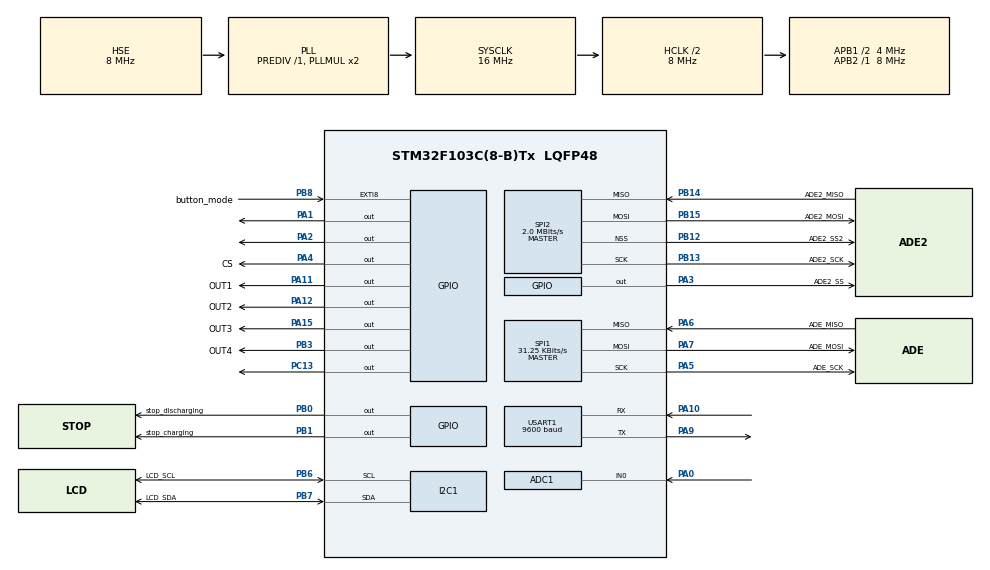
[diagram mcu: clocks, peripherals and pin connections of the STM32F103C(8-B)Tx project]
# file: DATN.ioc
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ADC1.Channel-2\#ChannelRegularConversion=ADC_CHANNEL_0
ADC1.ContinuousConvMode=ENABLE
ADC1.NbrOfConversionFlag=1
ADC1.Rank-2\#ChannelRegularConversion=1
ADC1.SamplingTime-2\#ChannelRegularConversion=ADC_SAMPLETIME_239CYCLES_5
ADC1.master=1
Dma.ADC1.0.Direction=DMA_PERIPH_TO_MEMORY
Dma.ADC1.0.Instance=DMA1_Channel1
Dma.ADC1.0.MemDataAlignment=DMA_MDATAALIGN_HALFWORD
Dma.ADC1.0.MemInc=DMA_MINC_ENABLE
Dma.ADC1.0.Mode=DMA_CIRCULAR
Dma.ADC1.0.PeriphDataAlignment=DMA_PDATAALIGN_HALFWORD
Dma.ADC1.0.PeriphInc=DMA_PINC_DISABLE
Dma.ADC1.0.Priority=DMA_PRIORITY_LOW
Dma.Request0=ADC1
Mcu.Family=STM32F1
Mcu.Name=STM32F103C(8-B)Tx
Mcu.Package=LQFP48
NVIC.DMA1_Channel1_IRQn=true\:0\:0\:false\:false\:true\:false\:true\:true
NVIC.EXTI9_5_IRQn=true\:3\:0\:true\:false\:true\:true\:true\:true
NVIC.PriorityGroup=NVIC_PRIORITYGROUP_4
NVIC.TIM2_IRQn=true\:2\:0\:true\:false\:true\:true\:true\:true
NVIC.USART1_IRQn=true\:1\:0\:true\:false\:true\:true\:true\:true
PA0-WKUP.Signal=ADCx_IN0
PA1.Signal=GPIO_Output
PA10.Mode=Asynchronous
PA10.Signal=USART1_RX
PA11.GPIO_Label=OUT1
PA11.PinState=GPIO_PIN_SET
PA11.Signal=GPIO_Output
PA12.GPIO_Label=OUT2
PA12.PinState=GPIO_PIN_SET
PA12.Signal=GPIO_Output
PA13.Mode=Serial_Wire
PA13.Signal=SYS_JTMS-SWDIO
PA14.Mode=Serial_Wire
PA14.Signal=SYS_JTCK-SWCLK
PA15.GPIO_Label=OUT3
PA15.PinState=GPIO_PIN_SET
PA15.Signal=GPIO_Output
PA2.Signal=GPIO_Output
PA3.GPIO_Label=ADE2_SS
PA3.Signal=GPIO_Output
PA4.GPIO_Label=CS
PA4.Signal=GPIO_Output
PA5.GPIO_Label=ADE_SCK
PA5.Mode=Full_Duplex_Master
PA5.Signal=SPI1_SCK
PA6.GPIO_Label=ADE_MISO
PA6.Mode=Full_Duplex_Master
PA6.Signal=SPI1_MISO
PA7.GPIO_Label=ADE_MOSI
PA7.Mode=Full_Duplex_Master
PA7.Signal=SPI1_MOSI
PA9.Mode=Asynchronous
PA9.Signal=USART1_TX
PB0.GPIO_Label=stop_discharging
PB0.Signal=GPIO_Output
PB1.GPIO_Label=stop_charging
PB1.Signal=GPIO_Output
PB12.GPIO_Label=ADE2_SS2
PB12.Mode=NSS_Signal_Hard_Output
PB12.Signal=SPI2_NSS
PB13.GPIO_Label=ADE2_SCK
PB13.Mode=Full_Duplex_Master
PB13.Signal=SPI2_SCK
PB14.GPIO_Label=ADE2_MISO
PB14.Mode=Full_Duplex_Master
PB14.Signal=SPI2_MISO
PB15.GPIO_Label=ADE2_MOSI
PB15.Mode=Full_Duplex_Master
PB15.Signal=SPI2_MOSI
PB3.GPIO_Label=OUT4
PB3.PinState=GPIO_PIN_SET
PB3.Signal=GPIO_Output
PB6.GPIO_Label=LCD_SCL
PB6.Mode=I2C
PB6.Signal=I2C1_SCL
PB7.GPIO_Label=LCD_SDA
PB7.Mode=I2C
PB7.Signal=I2C1_SDA
PB8.GPIO_Label=button_mode
PB8.GPIO_ModeDefaultEXTI=GPIO_MODE_IT_FALLING
PB8.GPIO_PuPd=GPIO_PULLUP
PB8.Signal=GPXTI8
PC13-TAMPER-RTC.PinState=GPIO_PIN_RESET
PC13-TAMPER-RTC.Signal=GPIO_Output
PD0-OSC_IN.Mode=HSE-External-Oscillator
PD0-OSC_IN.Signal=RCC_OSC_IN
PD1-OSC_OUT.Mode=HSE-External-Oscillator
PD1-OSC_OUT.Signal=RCC_OSC_OUT
ProjectManager.HeapSize=0x200
ProjectManager.StackSize=0x400
ProjectManager.TargetToolchain=MDK-ARM V5
RCC.ADCPresc=RCC_ADCPCLK2_DIV6
RCC.AHBCLKDivider=RCC_SYSCLK_DIV2
RCC.AHBFreq_Value=8000000
RCC.APB1CLKDivider=RCC_HCLK_DIV2
RCC.APB1Freq_Value=4000000
RCC.APB1TimFreq_Value=8000000
RCC.APB2Freq_Value=8000000
RCC.APB2TimFreq_Value=8000000
RCC.HCLKFreq_Value=8000000
RCC.PLLSourceVirtual=RCC_PLLSOURCE_HSE
RCC.SYSCLKFreq_VALUE=16000000
RCC.SYSCLKSource=RCC_SYSCLKSOURCE_PLLCLK
RCC.USBFreq_Value=16000000
SH.ADCx_IN0.0=ADC1_IN0,IN0
SPI1.BaudRatePrescaler=SPI_BAUDRATEPRESCALER_256
SPI1.CLKPolarity=SPI_POLARITY_LOW
SPI1.CalculateBaudRate=31.25 KBits/s
SPI1.Direction=SPI_DIRECTION_2LINES
SPI1.Mode=SPI_MODE_MASTER
SPI1.VirtualType=VM_MASTER
SPI2.CalculateBaudRate=2.0 MBits/s
SPI2.Direction=SPI_DIRECTION_2LINES
SPI2.Mode=SPI_MODE_MASTER
SPI2.VirtualNSS=VM_NSSHARD
SPI2.VirtualType=VM_MASTER
TIM2.Period=1199
TIM2.Prescaler=20000
USART1.BaudRate=9600
USART1.VirtualMode=VM_ASYNC
USART1.WordLength=WORDLENGTH_8B
VP_TIM2_VS_ClockSourceINT.Mode=Internal
board=custom

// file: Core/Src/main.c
/* USER CODE BEGIN Header */
/**
  ******************************************************************************
  * @file           : main.c
  * @brief          : Main program body
  ******************************************************************************
  * @attention
  *
  * Copyright (c) 2023 STMicroelectronics.
  * All rights reserved.
  *
  * This software is licensed under terms that can be found in the LICENSE file
  * in the root directory of this software component.
  * If no LICENSE file comes with this software, it is provided AS-IS.
  *
  ******************************************************************************
  */
/* USER CODE END Header */
#include "main.h"

/* USER CODE BEGIN PD */
	#include "i2c-lcd.h"
	#include "stdio.h"
	#define ADE7753_VOLTAGE_RMS 0x17
	#define ADE7753_CURRENT_RMS 0x16
	#define ADE7753_ACTIVE_POWER 0x04
	#define ADE7753_APPARENT_POWER 0x07
	#define ADE7753_VOLTAGE_RMS0S 0X18
	#define MODE 0x09
	uint32_t Vbat_temp=0,i,button_temp,Vtai_temp,Itai_temp,Ptai_temp,Vin_temp,Iin_temp,Vbat_tb, Vtai_tb, Itai_tb;
	float Vbat_f=0,Vtai_f=0, Itai_f=0,Ptai_f=0,Vin_f=0,Iin_f=0;
	uint16_t LCD_Menu=0;
	char Vbat[12]={0}, Vtai[12]={0},Itai[12]={0},Ptai[12]={0},Vin[12]={0}, Iin[12]={0};
	int tx_uart_temp;
	char tx_uart_buffer[9];

	uint8_t rx_buffer[4];
	int k=0;

/* USER CODE END PD */

ADC_HandleTypeDef hadc1;
DMA_HandleTypeDef hdma_adc1;

I2C_HandleTypeDef hi2c1;

SPI_HandleTypeDef hspi1;
SPI_HandleTypeDef hspi2;

TIM_HandleTypeDef htim2;

UART_HandleTypeDef huart1;

void SystemClock_Config(void);
static void MX_GPIO_Init(void);
static void MX_DMA_Init(void);
static void MX_ADC1_Init(void);
static void MX_I2C1_Init(void);
static void MX_SPI1_Init(void);
static void MX_USART1_UART_Init(void);
static void MX_SPI2_Init(void);
static void MX_TIM2_Init(void);

/* USER CODE BEGIN 0 */

void doc_vacquy()
{
	uint32_t vacquy_sum100=0;
	for (i=0;i<100;i++)
		{
			vacquy_sum100 = vacquy_sum100+Vbat_temp;
			HAL_Delay(1);
		}
	Vbat_tb=vacquy_sum100/100;
}
void HAL_GPIO_EXTI_Callback(uint16_t GPIO_Pin)
{
	if (GPIO_Pin == button_mode_Pin)
		{
			button_temp=1;
			LCD_Menu++;
			if (LCD_Menu>2)
				LCD_Menu=0;
			for (int x=500000; x>0; x--);
			__HAL_GPIO_EXTI_CLEAR_IT(button_mode_Pin);
			HAL_NVIC_ClearPendingIRQ(EXTI9_5_IRQn);
		}
}
void LCD_display()
{
	switch(LCD_Menu)
		{
			case 0:
				sprintf(Vbat,"%2.2f",Vbat_f);
				lcd_put_cur(0,1);
				lcd_send_string("DIEN AP ACQUY");
				lcd_put_cur(1,1);
				lcd_send_string("U=");
				lcd_send_string(Vbat);
				lcd_send_string("V");
				if (button_temp==1)
				{
						lcd_send_cmd(0x01);
						HAL_Delay(1);
						button_temp=0;
				}

				break;
			case 1:
				sprintf(Vtai,"%3.1f",Vtai_f);
				sprintf(Itai,"%2.2f",Itai_f);
				sprintf(Ptai,"%3.1f",Ptai_f);
				lcd_put_cur(0,0);
				lcd_send_string("OUTPUT");
				lcd_put_cur(0,8);
				lcd_send_string("U=");
				lcd_send_string(Vtai);
				lcd_send_string("V");

				lcd_put_cur(1,0);
				lcd_send_string("I=");
				lcd_send_string(Itai);
				lcd_send_string("A");

				lcd_put_cur(1,8);
				lcd_send_string("P=");
				lcd_send_string(Ptai);
				lcd_send_string("W");

				if (button_temp==1)
				{
						lcd_send_cmd(0x01);
						HAL_Delay(1);
					button_temp=0;
				}
				break;
			case 2:
				lcd_put_cur(0,1);
				lcd_send_string("DAU RA GIO");
				if (button_temp==1)
				{
						lcd_send_cmd(0x01);
						HAL_Delay(1);
					button_temp=0;
				}
				break;
		}
}

void HAL_UART_TxCpltCallback(UART_HandleTypeDef *huart)
{
//xu ly ngat gui uart, khong xu ly
}

void HAL_UART_RxCpltCallback(UART_HandleTypeDef *huart)
{
	if(huart->Instance == USART1)
	{
	for (int i=0;i<4;i++)
		{
			if (rx_buffer[i]=='a')
				{
					for (int j=0;j<4;j++)
					{
						if (rx_buffer[j]=='1')
						HAL_GPIO_WritePin(OUT1_GPIO_Port,OUT1_Pin,0);
						else if (rx_buffer[j]=='0')
						HAL_GPIO_WritePin(OUT1_GPIO_Port,OUT1_Pin,1);
					}
				}
			if (rx_buffer[i]=='b')
				{
					for (int j=0;j<4;j++)
					{
						if (rx_buffer[j]=='1')
						HAL_GPIO_WritePin(OUT2_GPIO_Port,OUT2_Pin,0);
						else if (rx_buffer[j]=='0')
						HAL_GPIO_WritePin(OUT2_GPIO_Port,OUT2_Pin,1);
					}
				}
			if (rx_buffer[i]=='c')
				{
					for (int j=0;j<4;j++)
					{
						if (rx_buffer[j]=='1')
						HAL_GPIO_WritePin(OUT3_GPIO_Port,OUT3_Pin,0);
						else if (rx_buffer[j]=='0')
						HAL_GPIO_WritePin(OUT3_GPIO_Port,OUT3_Pin,1);
					}
				}
			if (rx_buffer[i]=='d')
				{
					for (int j=0;j<4;j++)
					{
						if (rx_buffer[j]=='1')
						HAL_GPIO_WritePin(OUT4_GPIO_Port,OUT4_Pin,0);
						else if (rx_buffer[j]=='0')
						HAL_GPIO_WritePin(OUT4_GPIO_Port,OUT4_Pin,1);
					}
				}
		}

		HAL_UART_Receive_IT(&huart1, (uint8_t*)rx_buffer, 4);
	}

}
void HAL_TIM_PeriodElapsedCallback(TIM_HandleTypeDef *htim)
{
	if(htim->Instance == htim2.Instance)
		{
			switch (k)
				{
					case 0:
						sprintf(tx_uart_buffer,"VBAT%05d",(int)(Vbat_f*100));
						HAL_UART_Transmit_IT(&huart1,(uint8_t*)tx_uart_buffer,9);
						k++;
						break;
					case 1:
						sprintf(tx_uart_buffer,"VTAI%05d",(int)(Vtai_f*100));
						HAL_UART_Transmit_IT(&huart1,(uint8_t*)tx_uart_buffer,9);
						k++;
						break;
					case 2:
						sprintf(tx_uart_buffer,"ITAI%05d",(int)(Itai_f*100));
						HAL_UART_Transmit_IT(&huart1,(uint8_t*)tx_uart_buffer,9);
						k++;
						break;
					case 3:
						sprintf(tx_uart_buffer,"PTAI%05d",(int)(Ptai_f*100));
						HAL_UART_Transmit_IT(&huart1,(uint8_t*)tx_uart_buffer,9);
						k++;
						break;

					case 4:
						sprintf(tx_uart_buffer,"VIN0%05d",(int)(Vin_f*100));
						HAL_UART_Transmit_IT(&huart1,(uint8_t*)tx_uart_buffer,9);
						k++;
						break;
					case 5:
						sprintf(tx_uart_buffer,"IIN0%05d",(int)(Iin_f*100));
						HAL_UART_Transmit_IT(&huart1,(uint8_t*)tx_uart_buffer,9);
						k=0;
						break;
				}
		}
}
		//READ_ADE
uint32_t Read_ADE24(uint8_t add)
	{
		uint8_t m[3]={0x00, 0x00, 0x00};
		uint8_t n[3]={0x00, 0x00, 0x00};
		HAL_GPIO_WritePin(GPIOA ,GPIO_PIN_4,GPIO_PIN_RESET);
		HAL_SPI_Transmit(&hspi1,&add,1,10);
		HAL_SPI_TransmitReceive(&hspi1,m,n,3,10);
		HAL_GPIO_WritePin(GPIOA ,GPIO_PIN_4,GPIO_PIN_SET);
		return (n[0]<<16 | n[1]<<8 | n[2]);
	}
/* USER CODE END 0 */

int main(void)
{

  /* MCU Configuration--------------------------------------------------------*/

  /* Reset of all peripherals, Initializes the Flash interface and the Systick. */
  HAL_Init();

  /* Configure the system clock */
  SystemClock_Config();

  /* Initialize all configured peripherals */
  MX_GPIO_Init();
  MX_DMA_Init();
  MX_ADC1_Init();
  MX_I2C1_Init();
  MX_SPI1_Init();
  MX_USART1_UART_Init();
  MX_SPI2_Init();
  MX_TIM2_Init();
  /* USER CODE BEGIN 2 */
	lcd_init();
	HAL_ADC_Start_DMA(&hadc1,&Vbat_temp,1);
	HAL_UART_Receive_IT(&huart1, (uint8_t*) rx_buffer,4);
	HAL_TIM_Base_Start_IT(&htim2);

  /* USER CODE END 2 */

  /* Infinite loop */
  /* USER CODE BEGIN WHILE */
  while (1)
		{
			HAL_GPIO_TogglePin(GPIOC,GPIO_PIN_13);

    /* USER CODE END WHILE */

    /* USER CODE BEGIN 3 */
			uint32_t Vtai_sum=0, Itai_sum=0;
				for (int k=0;k<20;k++)
		{

			Vtai_temp= Read_ADE24(ADE7753_VOLTAGE_RMS);
			Vtai_sum=Vtai_sum+Vtai_temp;
			}
			Vtai_tb= Vtai_sum/20;
		for (int k=0;k<20;k++)
			{
			Itai_temp= Read_ADE24(ADE7753_CURRENT_RMS);
			Itai_sum=Itai_sum+Itai_temp;
			}
			Itai_tb=Itai_sum/20;
			 // Xu ly du lieu
	 Vtai_f= (Vtai_tb-50000) * 114 / 264208;
	 Itai_f=(Itai_tb-1480) * 0.000030221625;
			doc_vacquy();

			Vbat_f=((float)Vbat_temp/4070)*3.32*(9800+970)/970;

			if (Vbat_f>14.10)
				{
					HAL_Delay(100);
					if (Vbat_f>14.10)
						{
							HAL_GPIO_WritePin(GPIOB,stop_charging_Pin,1);
							HAL_GPIO_WritePin(GPIOB,stop_discharging_Pin,1);
						}
				}
			if (Vbat_f<=14.1 && Vbat_f>=6.0)
				{
					HAL_Delay(100);
					if (Vbat_f<=14.1 && Vbat_f>=6.0)
						{
							HAL_GPIO_WritePin(GPIOB,stop_charging_Pin,1);
							HAL_GPIO_WritePin(GPIOB,stop_discharging_Pin,1);
						}
				}
			if (Vbat_f<6.0)
				{
					HAL_Delay(100);
					if (Vbat_f<6.0)
						{
							HAL_GPIO_WritePin(GPIOB,stop_charging_Pin,1);
							HAL_GPIO_WritePin(GPIOB,stop_discharging_Pin,1);
						}
				}

			LCD_display();

		}
  /* USER CODE END 3 */
}

void SystemClock_Config(void)
{
  RCC_OscInitTypeDef RCC_OscInitStruct = {0};
  RCC_ClkInitTypeDef RCC_ClkInitStruct = {0};
  RCC_PeriphCLKInitTypeDef PeriphClkInit = {0};

  /** Initializes the RCC Oscillators according to the specified parameters
  * in the RCC_OscInitTypeDef structure.
  */
  RCC_OscInitStruct.OscillatorType = RCC_OSCILLATORTYPE_HSE;
  RCC_OscInitStruct.HSEState = RCC_HSE_ON;
  RCC_OscInitStruct.HSEPredivValue = RCC_HSE_PREDIV_DIV1;
  RCC_OscInitStruct.HSIState = RCC_HSI_ON;
  RCC_OscInitStruct.PLL.PLLState = RCC_PLL_ON;
  RCC_OscInitStruct.PLL.PLLSource = RCC_PLLSOURCE_HSE;
  RCC_OscInitStruct.PLL.PLLMUL = RCC_PLL_MUL2;
  if (HAL_RCC_OscConfig(&RCC_OscInitStruct) != HAL_OK)
  {
    Error_Handler();
  }

  /** Initializes the CPU, AHB and APB buses clocks
  */
  RCC_ClkInitStruct.ClockType = RCC_CLOCKTYPE_HCLK|RCC_CLOCKTYPE_SYSCLK
                              |RCC_CLOCKTYPE_PCLK1|RCC_CLOCKTYPE_PCLK2;
  RCC_ClkInitStruct.SYSCLKSource = RCC_SYSCLKSOURCE_PLLCLK;
  RCC_ClkInitStruct.AHBCLKDivider = RCC_SYSCLK_DIV2;
  RCC_ClkInitStruct.APB1CLKDivider = RCC_HCLK_DIV2;
  RCC_ClkInitStruct.APB2CLKDivider = RCC_HCLK_DIV1;

  if (HAL_RCC_ClockConfig(&RCC_ClkInitStruct, FLASH_LATENCY_0) != HAL_OK)
  {
    Error_Handler();
  }
  PeriphClkInit.PeriphClockSelection = RCC_PERIPHCLK_ADC;
  PeriphClkInit.AdcClockSelection = RCC_ADCPCLK2_DIV6;
  if (HAL_RCCEx_PeriphCLKConfig(&PeriphClkInit) != HAL_OK)
  {
    Error_Handler();
  }
}

static void MX_ADC1_Init(void)
{

  ADC_ChannelConfTypeDef sConfig = {0};

  /** Common config
  */
  hadc1.Instance = ADC1;
  hadc1.Init.ScanConvMode = ADC_SCAN_DISABLE;
  hadc1.Init.ContinuousConvMode = ENABLE;
  hadc1.Init.DiscontinuousConvMode = DISABLE;
  hadc1.Init.ExternalTrigConv = ADC_SOFTWARE_START;
  hadc1.Init.DataAlign = ADC_DATAALIGN_RIGHT;
  hadc1.Init.NbrOfConversion = 1;
  if (HAL_ADC_Init(&hadc1) != HAL_OK)
  {
    Error_Handler();
  }

  /** Configure Regular Channel
  */
  sConfig.Channel = ADC_CHANNEL_0;
  sConfig.Rank = ADC_REGULAR_RANK_1;
  sConfig.SamplingTime = ADC_SAMPLETIME_239CYCLES_5;
  if (HAL_ADC_ConfigChannel(&hadc1, &sConfig) != HAL_OK)
  {
    Error_Handler();
  }

}

static void MX_I2C1_Init(void)
{

  hi2c1.Instance = I2C1;
  hi2c1.Init.ClockSpeed = 100000;
  hi2c1.Init.DutyCycle = I2C_DUTYCYCLE_2;
  hi2c1.Init.OwnAddress1 = 0;
  hi2c1.Init.AddressingMode = I2C_ADDRESSINGMODE_7BIT;
  hi2c1.Init.DualAddressMode = I2C_DUALADDRESS_DISABLE;
  hi2c1.Init.OwnAddress2 = 0;
  hi2c1.Init.GeneralCallMode = I2C_GENERALCALL_DISABLE;
  hi2c1.Init.NoStretchMode = I2C_NOSTRETCH_DISABLE;
  if (HAL_I2C_Init(&hi2c1) != HAL_OK)
  {
    Error_Handler();
  }

}

static void MX_SPI1_Init(void)
{

  /* SPI1 parameter configuration*/
  hspi1.Instance = SPI1;
  hspi1.Init.Mode = SPI_MODE_MASTER;
  hspi1.Init.Direction = SPI_DIRECTION_2LINES;
  hspi1.Init.DataSize = SPI_DATASIZE_8BIT;
  hspi1.Init.CLKPolarity = SPI_POLARITY_HIGH;
  hspi1.Init.CLKPhase = SPI_PHASE_1EDGE;
  hspi1.Init.NSS = SPI_NSS_SOFT;
  hspi1.Init.BaudRatePrescaler = SPI_BAUDRATEPRESCALER_256;
  hspi1.Init.FirstBit = SPI_FIRSTBIT_MSB;
  hspi1.Init.TIMode = SPI_TIMODE_DISABLE;
  hspi1.Init.CRCCalculation = SPI_CRCCALCULATION_DISABLE;
  hspi1.Init.CRCPolynomial = 10;
  if (HAL_SPI_Init(&hspi1) != HAL_OK)
  {
    Error_Handler();
  }

}

static void MX_SPI2_Init(void)
{

  /* SPI2 parameter configuration*/
  hspi2.Instance = SPI2;
  hspi2.Init.Mode = SPI_MODE_MASTER;
  hspi2.Init.Direction = SPI_DIRECTION_2LINES;
  hspi2.Init.DataSize = SPI_DATASIZE_8BIT;
  hspi2.Init.CLKPolarity = SPI_POLARITY_LOW;
  hspi2.Init.CLKPhase = SPI_PHASE_1EDGE;
  hspi2.Init.NSS = SPI_NSS_HARD_OUTPUT;
  hspi2.Init.BaudRatePrescaler = SPI_BAUDRATEPRESCALER_2;
  hspi2.Init.FirstBit = SPI_FIRSTBIT_MSB;
  hspi2.Init.TIMode = SPI_TIMODE_DISABLE;
  hspi2.Init.CRCCalculation = SPI_CRCCALCULATION_DISABLE;
  hspi2.Init.CRCPolynomial = 10;
  if (HAL_SPI_Init(&hspi2) != HAL_OK)
  {
    Error_Handler();
  }

}

static void MX_TIM2_Init(void)
{

  TIM_ClockConfigTypeDef sClockSourceConfig = {0};
  TIM_MasterConfigTypeDef sMasterConfig = {0};

  htim2.Instance = TIM2;
  htim2.Init.Prescaler = 20000;
  htim2.Init.CounterMode = TIM_COUNTERMODE_UP;
  htim2.Init.Period = 1599;
  htim2.Init.ClockDivision = TIM_CLOCKDIVISION_DIV1;
  htim2.Init.AutoReloadPreload = TIM_AUTORELOAD_PRELOAD_DISABLE;
  if (HAL_TIM_Base_Init(&htim2) != HAL_OK)
  {
    Error_Handler();
  }
  sClockSourceConfig.ClockSource = TIM_CLOCKSOURCE_INTERNAL;
  if (HAL_TIM_ConfigClockSource(&htim2, &sClockSourceConfig) != HAL_OK)
  {
    Error_Handler();
  }
  sMasterConfig.MasterOutputTrigger = TIM_TRGO_RESET;
  sMasterConfig.MasterSlaveMode = TIM_MASTERSLAVEMODE_DISABLE;
  if (HAL_TIMEx_MasterConfigSynchronization(&htim2, &sMasterConfig) != HAL_OK)
  {
    Error_Handler();
  }

}

static void MX_USART1_UART_Init(void)
{

  huart1.Instance = USART1;
  huart1.Init.BaudRate = 9600;
  huart1.Init.WordLength = UART_WORDLENGTH_8B;
  huart1.Init.StopBits = UART_STOPBITS_1;
  huart1.Init.Parity = UART_PARITY_NONE;
  huart1.Init.Mode = UART_MODE_TX_RX;
  huart1.Init.HwFlowCtl = UART_HWCONTROL_NONE;
  huart1.Init.OverSampling = UART_OVERSAMPLING_16;
  if (HAL_UART_Init(&huart1) != HAL_OK)
  {
    Error_Handler();
  }
  /* USER CODE BEGIN USART1_Init 2 */
	  HAL_NVIC_SetPriority(USART1_IRQn, 0, 1);
    HAL_NVIC_EnableIRQ(USART1_IRQn);

  /* USER CODE END USART1_Init 2 */

}

static void MX_DMA_Init(void)
{

  /* DMA controller clock enable */
  __HAL_RCC_DMA1_CLK_ENABLE();

  /* DMA interrupt init */
  /* DMA1_Channel1_IRQn interrupt configuration */
  HAL_NVIC_SetPriority(DMA1_Channel1_IRQn, 0, 0);
  HAL_NVIC_EnableIRQ(DMA1_Channel1_IRQn);

}

static void MX_GPIO_Init(void)
{
  GPIO_InitTypeDef GPIO_InitStruct = {0};

  /* GPIO Ports Clock Enable */
  __HAL_RCC_GPIOC_CLK_ENABLE();
  __HAL_RCC_GPIOD_CLK_ENABLE();
  __HAL_RCC_GPIOA_CLK_ENABLE();
  __HAL_RCC_GPIOB_CLK_ENABLE();

  /*Configure GPIO pin Output Level */
  HAL_GPIO_WritePin(GPIOC, GPIO_PIN_13, GPIO_PIN_RESET);

  /*Configure GPIO pin Output Level */
  HAL_GPIO_WritePin(GPIOA, GPIO_PIN_1|GPIO_PIN_2|ADE2_SS_Pin|CS_Pin, GPIO_PIN_RESET);

  /*Configure GPIO pin Output Level */
  HAL_GPIO_WritePin(GPIOB, stop_discharging_Pin|stop_charging_Pin, GPIO_PIN_RESET);

  /*Configure GPIO pin Output Level */
  HAL_GPIO_WritePin(GPIOA, OUT1_Pin|OUT2_Pin|OUT3_Pin, GPIO_PIN_SET);

  /*Configure GPIO pin Output Level */
  HAL_GPIO_WritePin(OUT4_GPIO_Port, OUT4_Pin, GPIO_PIN_SET);

  /*Configure GPIO pin : PC13 */
  GPIO_InitStruct.Pin = GPIO_PIN_13;
  GPIO_InitStruct.Mode = GPIO_MODE_OUTPUT_PP;
  GPIO_InitStruct.Pull = GPIO_NOPULL;
  GPIO_InitStruct.Speed = GPIO_SPEED_FREQ_LOW;
  HAL_GPIO_Init(GPIOC, &GPIO_InitStruct);

  /*Configure GPIO pins : PA1 PA2 ADE2_SS_Pin CS_Pin
                           OUT1_Pin OUT2_Pin OUT3_Pin */
  GPIO_InitStruct.Pin = GPIO_PIN_1|GPIO_PIN_2|ADE2_SS_Pin|CS_Pin
                          |OUT1_Pin|OUT2_Pin|OUT3_Pin;
  GPIO_InitStruct.Mode = GPIO_MODE_OUTPUT_PP;
  GPIO_InitStruct.Pull = GPIO_NOPULL;
  GPIO_InitStruct.Speed = GPIO_SPEED_FREQ_LOW;
  HAL_GPIO_Init(GPIOA, &GPIO_InitStruct);

  /*Configure GPIO pins : stop_discharging_Pin stop_charging_Pin OUT4_Pin */
  GPIO_InitStruct.Pin = stop_discharging_Pin|stop_charging_Pin|OUT4_Pin;
  GPIO_InitStruct.Mode = GPIO_MODE_OUTPUT_PP;
  GPIO_InitStruct.Pull = GPIO_NOPULL;
  GPIO_InitStruct.Speed = GPIO_SPEED_FREQ_LOW;
  HAL_GPIO_Init(GPIOB, &GPIO_InitStruct);

  /*Configure GPIO pin : button_mode_Pin */
  GPIO_InitStruct.Pin = button_mode_Pin;
  GPIO_InitStruct.Mode = GPIO_MODE_IT_FALLING;
  GPIO_InitStruct.Pull = GPIO_PULLUP;
  HAL_GPIO_Init(button_mode_GPIO_Port, &GPIO_InitStruct);

  /* EXTI interrupt init*/
  HAL_NVIC_SetPriority(EXTI9_5_IRQn, 3, 0);
  HAL_NVIC_EnableIRQ(EXTI9_5_IRQn);

}

void Error_Handler(void)
{
  __disable_irq();
  while (1)
  {
  }
}
